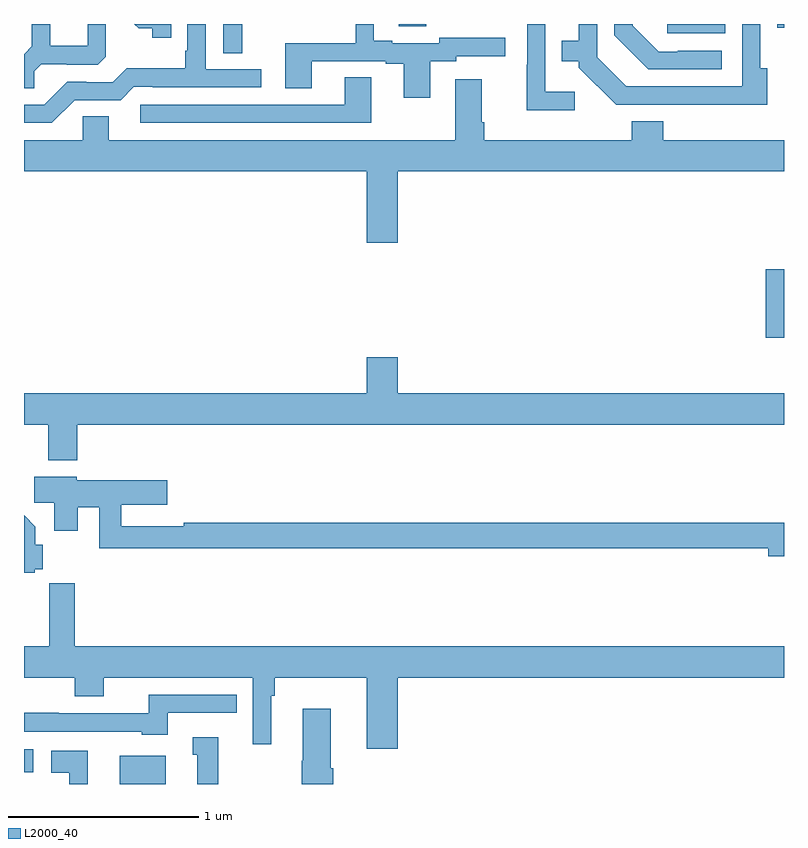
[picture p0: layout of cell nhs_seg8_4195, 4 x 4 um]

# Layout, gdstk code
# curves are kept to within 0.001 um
import gdstk
lib = gdstk.Library(unit=1e-6, precision=1e-09)
def R(c, l, rs):  # rectangles x0, y0, x1, y1
    for r in rs: c.add(gdstk.rectangle(r[:2], r[2:], *l))
def P(c, l, *ps):  # polygons
    for p in ps: c.add(gdstk.Polygon(p, *l))
L2000_40 = (2000, 40)

nhs_seg8_4195 = lib.new_cell('nhs_seg8_4195')
R(nhs_seg8_4195, L2000_40, [(367.505,1155.9,367.747,1156.048), (367,1155.963,367.048,1156.084), (370.904,1158.25,371,1158.61), (368.049,1159.747,368.148,1159.9), (370.386,1159.851,370.69,1159.9), (370.965,1159.881,371,1159.9), (368.973,1159.889,369.117,1159.9)])
P(nhs_seg8_4195, L2000_40, [(367.053,1159.652),(367.09,1159.689),(367.224,1159.689),(367.224,1159.686),(367.389,1159.686),(367.43,1159.727),(367.43,1159.9),(367.336,1159.9),(367.336,1159.786),(367.139,1159.786),(367.139,1159.9),(367.041,1159.9),(367.041,1159.783),(367,1159.742),(367,1159.561),(367.053,1159.561)],
  [(367.775,1159.9),(367.581,1159.9),(367.604,1159.877),(367.674,1159.877),(367.674,1159.827),(367.775,1159.827)],
  [(370.912,1159.666),(370.875,1159.666),(370.875,1159.9),(370.779,1159.9),(370.779,1159.572),(370.17,1159.572),(370.017,1159.725),(370.017,1159.9),(369.92,1159.9),(369.92,1159.813),(369.829,1159.813),(369.829,1159.703),(369.921,1159.703),(369.921,1159.671),(370.116,1159.476),(370.912,1159.475)],
  [(369.898,1159.543),(369.744,1159.543),(369.744,1159.9),(369.648,1159.9),(369.648,1159.685),(369.646,1159.685),(369.646,1159.445),(369.898,1159.445)],
  [(369.139,1159.704),(369.276,1159.704),(369.276,1159.731),(369.532,1159.731),(369.532,1159.827),(369.186,1159.827),(369.186,1159.8),(368.938,1159.8),(368.938,1159.813),(368.842,1159.813),(368.842,1159.9),(368.745,1159.9),(368.745,1159.8),(368.375,1159.8),(368.375,1159.561),(368.515,1159.561),(368.515,1159.704),(368.903,1159.704),(368.903,1159.692),(368.999,1159.692),(368.999,1159.512),(369.139,1159.512)],
  [(370.672,1159.758),(370.441,1159.758),(370.441,1159.755),(370.341,1159.755),(370.204,1159.892),(370.204,1159.9),(370.107,1159.9),(370.107,1159.841),(370.286,1159.662),(370.672,1159.662)],
  [(367.266,1159.5),(367.509,1159.5),(367.578,1159.569),(367.678,1159.569),(367.678,1159.566),(368.248,1159.566),(368.248,1159.662),(367.956,1159.662),(367.956,1159.9),(367.86,1159.9),(367.86,1159.759),(367.848,1159.759),(367.848,1159.666),(367.54,1159.666),(367.467,1159.593),(367.328,1159.593),(367.328,1159.596),(367.227,1159.596),(367.107,1159.476),(367,1159.476),(367,1159.38),(367.146,1159.38)],
  [(368.827,1159.619),(368.687,1159.619),(368.687,1159.476),(367.611,1159.476),(367.611,1159.38),(368.827,1159.38)],
  [(367.447,1159.415),(367.308,1159.415),(367.308,1159.288),(367,1159.288),(367,1159.124),(368.804,1159.124),(368.804,1158.75),(368.968,1158.75),(368.968,1159.124),(371,1159.124),(371,1159.288),(370.364,1159.288),(370.364,1159.387),(370.199,1159.387),(370.199,1159.288),(369.422,1159.288),(369.422,1159.384),(369.409,1159.384),(369.409,1159.609),(369.269,1159.609),(369.269,1159.288),(367.447,1159.288)],
  [(367.28,1157.792),(371,1157.792),(371,1157.956),(368.968,1157.956),(368.968,1158.145),(368.804,1158.145),(368.804,1157.956),(367,1157.956),(367,1157.792),(367.127,1157.792),(367.127,1157.603),(367.28,1157.603)],
  [(371,1157.276),(367.84,1157.276),(367.84,1157.256),(367.511,1157.256),(367.511,1157.369),(367.753,1157.369),(367.753,1157.499),(367.278,1157.499),(367.278,1157.518),(367.055,1157.518),(367.055,1157.38),(367.16,1157.38),(367.16,1157.232),(367.282,1157.232),(367.282,1157.357),(367.395,1157.357),(367.395,1157.14),(370.916,1157.14),(370.916,1157.098),(371,1157.098)],
  [(367.056,1157.03),(367.099,1157.03),(367.099,1157.158),(367.06,1157.158),(367.06,1157.254),(367,1157.314),(367,1157.011),(367.056,1157.011)],
  [(368.968,1156.46),(371,1156.46),(371,1156.624),(367.268,1156.624),(367.268,1156.957),(367.133,1156.957),(367.133,1156.844),(367.132,1156.844),(367.132,1156.624),(367,1156.624),(367,1156.46),(367.268,1156.46),(367.268,1156.361),(367.42,1156.361),(367.42,1156.46),(368.205,1156.46),(368.205,1156.11),(368.302,1156.11),(368.302,1156.364),(368.321,1156.364),(368.321,1156.46),(368.804,1156.46),(368.804,1156.086),(368.968,1156.086)],
  [(367.756,1156.275),(368.12,1156.275),(368.12,1156.371),(367.657,1156.371),(367.657,1156.272),(367.184,1156.272),(367.184,1156.274),(367,1156.274),(367,1156.176),(367.62,1156.176),(367.62,1156.16),(367.756,1156.16)],
  [(368.627,1155.984),(368.614,1155.984),(368.614,1156.297),(368.468,1156.297),(368.468,1156.022),(368.461,1156.022),(368.461,1155.9),(368.627,1155.9)],
  [(368.023,1156.147),(367.889,1156.147),(367.889,1156.053),(367.913,1156.053),(367.913,1155.9),(368.023,1155.9)],
  [(367.336,1156.074),(367.143,1156.074),(367.143,1155.958),(367.237,1155.958),(367.237,1155.9),(367.336,1155.9)])

lib.write_gds('nhs_seg8_4195.gds')
